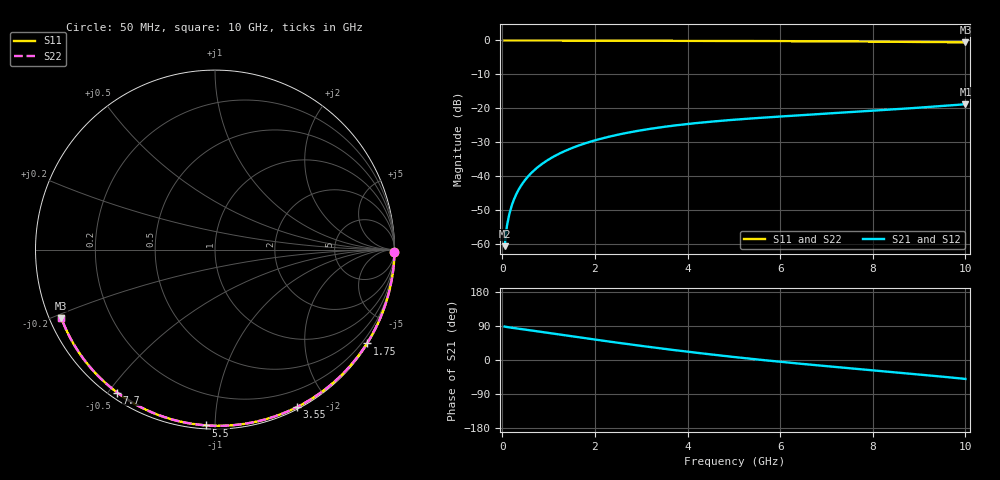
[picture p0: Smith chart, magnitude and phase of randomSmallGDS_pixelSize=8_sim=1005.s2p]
! freq	dB(S11)	phase(S11)	dB(S12)	phase(S12)
!  dB(S21)	phase(S21)	dB(S22)	phase(S22)
!S-par simulation data
#  GHz  S  DB  R 50
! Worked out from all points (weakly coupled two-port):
!   200 points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, 50 MHz to 10 GHz, reference 50 ohm
!   highest |S21| = -18.82 dB at 10 GHz (marker M1); lowest = -60.7 dB at 50 MHz (marker M2)
!   lowest |S11| = -0.6 dB at 10 GHz (marker M3), VSWR 30.83, Z = 1.69 - j10.6 ohm
!   |S11| at or under -10 dB: nowhere
!   |S22| runs from -0.6 to 0.0 dB; largest |S21 - S12| = 0
!   S11 on the Smith chart (normalised r, x): 50 MHz: open; 1.75 GHz: 0.03, -3.52; 3.55 GHz: 0.02, -1.65; 5.5 GHz: 0.02, -0.95; 7.7 GHz: 0.02, -0.53; 10 GHz: 0.03, -0.21
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0.05  -0.00 -0.9  -60.70 88.3  -60.70 88.3  -0.00 -0.9
0.1  -0.00 -1.8  -54.76 87.0  -54.76 87.0  -0.00 -1.8
0.15  -0.00 -2.8  -51.32 86.0  -51.32 86.0  -0.00 -2.8
0.2  -0.00 -3.7  -48.87 85.2  -48.87 85.2  -0.00 -3.7
0.25  -0.00 -4.6  -46.97 84.3  -46.97 84.3  -0.00 -4.6
0.35  -0.00 -6.5  -44.10 82.7  -44.10 82.7  -0.00 -6.5
0.5  -0.01 -9.2  -41.04 80.2  -41.04 80.2  -0.01 -9.2
0.7  -0.01 -12.9  -38.16 76.7  -38.16 76.7  -0.01 -12.9
1  -0.02 -18.3  -35.14 71.4  -35.14 71.4  -0.02 -18.3
1.35  -0.03 -24.6  -32.63 65.2  -32.63 65.2  -0.03 -24.6
1.75  -0.04 -31.7  -30.53 58.2  -30.53 58.2  -0.04 -31.7
2.5  -0.06 -44.8  -27.80 45.4  -27.80 45.4  -0.06 -44.8
3.4  -0.09 -60.0  -25.67 31.0  -25.67 31.0  -0.09 -60.0
3.55  -0.09 -62.5  -25.39 28.7  -25.39 28.7  -0.09 -62.4
4.3  -0.12 -74.5  -24.23 17.6  -24.23 17.6  -0.12 -74.5
5.05  -0.15 -86.2  -23.35 7.3  -23.35 7.3  -0.15 -86.1
5.5  -0.17 -92.9  -22.90 1.5  -22.90 1.5  -0.17 -92.9
6.7  -0.24 -110.4  -21.86 -12.8  -21.86 -12.8  -0.24 -110.3
7.7  -0.31 -124.4  -21.02 -23.9  -21.02 -23.9  -0.31 -124.3
8.35  -0.37 -133.3  -20.44 -31.0  -20.44 -31.0  -0.37 -133.3
9.2  -0.46 -145.0  -19.63 -40.5  -19.63 -40.5  -0.46 -144.9
10  -0.56 -156.0  -18.82 -49.9  -18.82 -49.9  -0.56 -156.0
